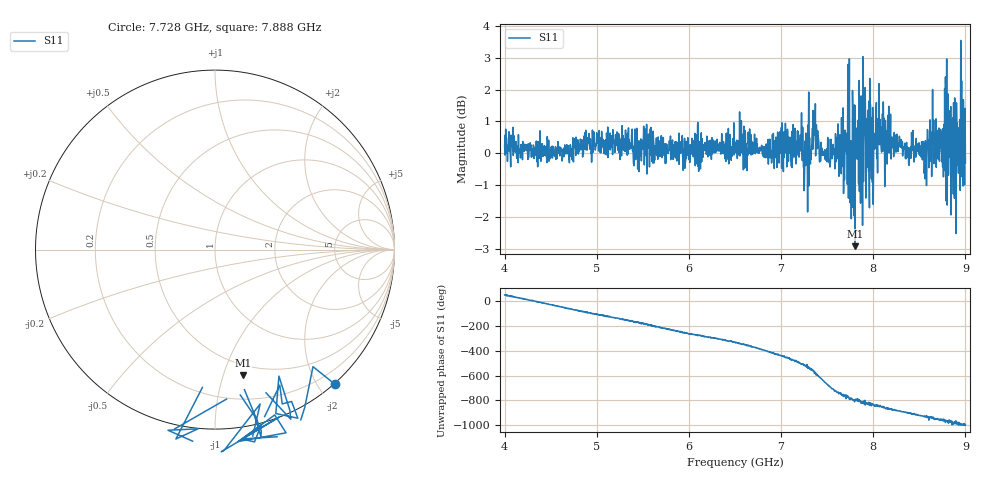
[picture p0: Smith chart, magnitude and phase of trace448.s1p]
! Created with skrf 1.8.0 (http://scikit-rf.org).
# Hz S RI R 50.0
!freq ReS11 ImS11
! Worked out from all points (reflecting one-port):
!   1601 points, 4 GHz to 9 GHz, reference 50 ohm
!   lowest |S11| = -2.9 dB at 7.8 GHz (marker M1), VSWR 6.02, Z = 20.4 - j58.2 ohm
!   phase of S11 starts at 51 deg and turns -1046 deg over the sweep
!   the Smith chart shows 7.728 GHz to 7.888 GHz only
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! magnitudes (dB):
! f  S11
! 4 GHz  0.2
! 4.625 GHz  -0.2
! 5.25 GHz  -0.1
! 5.875 GHz  0.2
! 6.5 GHz  0.3
! 7.125 GHz  -0.2
! 7.209 GHz  0.6
! 7.262 GHz  0.4
! 7.366 GHz  0.8
! 7.441 GHz  0.1
! 7.709 GHz  0.5
! 7.716 GHz  0.6
! 7.75 GHz  -0.6
! 7.769 GHz  0.3
! 7.8 GHz  -2.9
! 7.828 GHz  0.5
! 7.875 GHz  0.3
! 7.891 GHz  0.4
! 8 GHz  -1.6
! 8.088 GHz  0.1
! 8.375 GHz  -0.1
! 8.556 GHz  -0.5
! 8.662 GHz  0.1
! 8.741 GHz  0.0
! 8.791 GHz  -1.5
! 8.869 GHz  -1.3
! 8.956 GHz  0.6
! 9 GHz  -0.3
